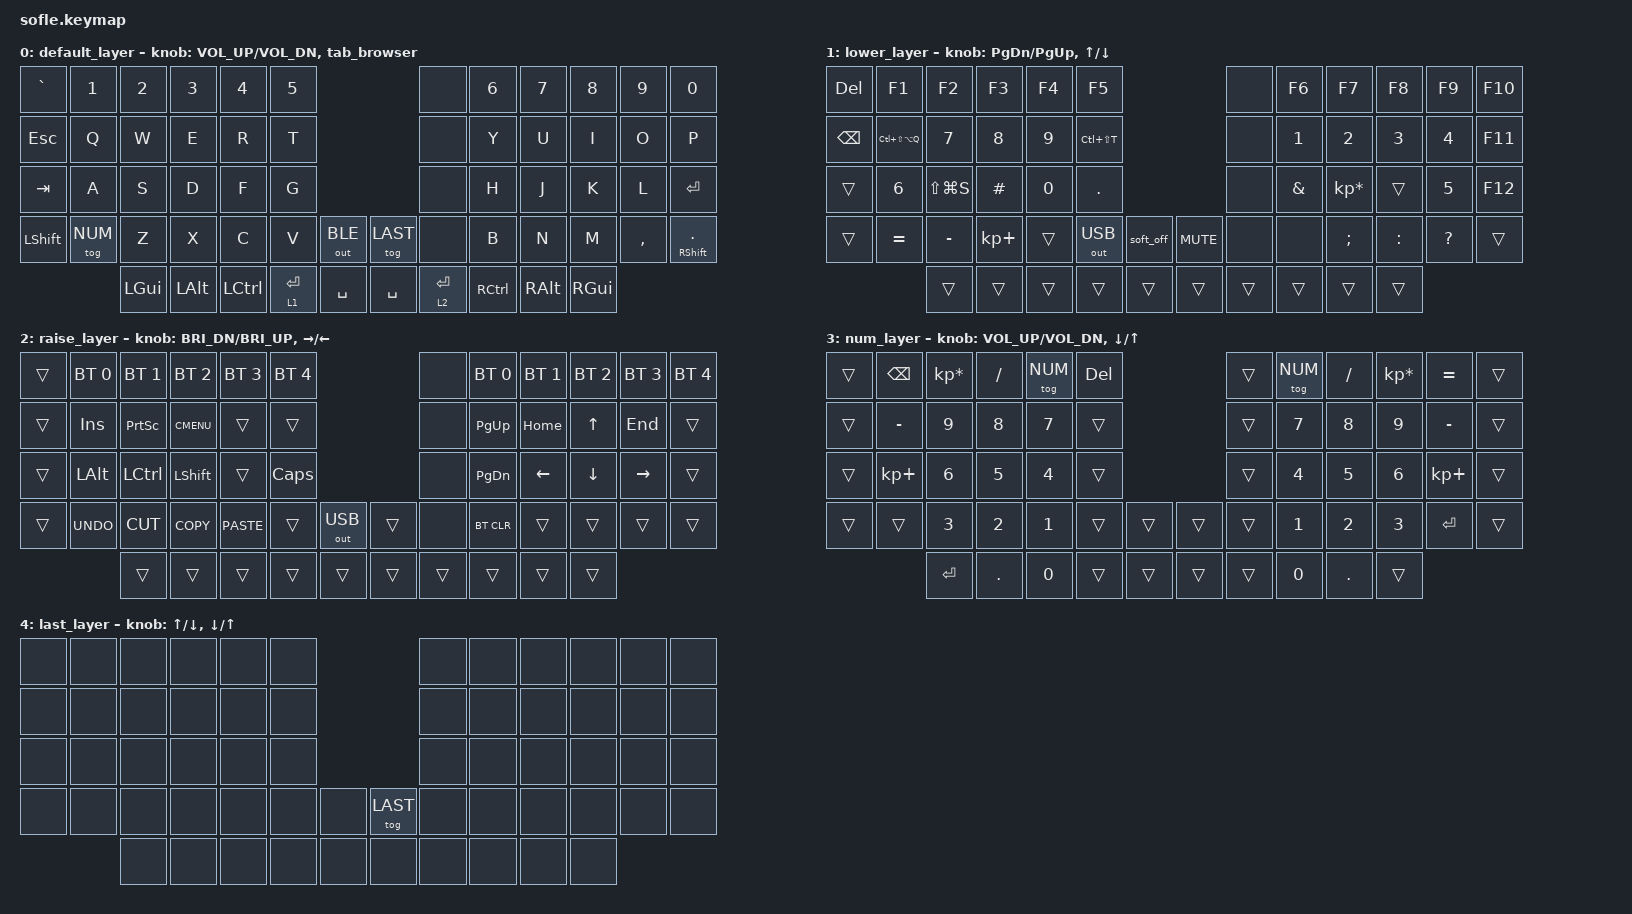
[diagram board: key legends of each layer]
/*
 * Copyright (c) 2020 The ZMK Contributors
 *
 * SPDX-License-Identifier: MIT
 */

#include <behaviors.dtsi>
#include <dt-bindings/zmk/keys.h>
#include <dt-bindings/zmk/bt.h>
#include <dt-bindings/zmk/outputs.h>

#define DEFAULT		0
#define LOWER		1
#define RAISE		2
#define NUM		3
#define LAST		4

//Encoder Support by Preacher325 https://github.com/Preacher325/Sofle_RGB_ZMK/blob/master/config/sofle.keymap
//Alps Alpine EC11N1524402: 30 Detent, 15PPR, 2 Channel, Quadrature, 15000 Cycle
/ {
    left_encoder: encoder_left {
        compatible = "alps,ec11";
        label = "LEFT_ENCODER";
        a-gpios = <&pro_micro 21 (GPIO_ACTIVE_HIGH | GPIO_PULL_UP)>;
        b-gpios = <&pro_micro 20 (GPIO_ACTIVE_HIGH | GPIO_PULL_UP)>;
        steps = <60>;
    };
    right_encoder: encoder_right {
        compatible = "alps,ec11";
        label = "RIGHT_ENCODER";
        a-gpios = <&pro_micro 21 (GPIO_ACTIVE_HIGH | GPIO_PULL_UP)>;
        b-gpios = <&pro_micro 20 (GPIO_ACTIVE_HIGH | GPIO_PULL_UP)>;
        steps = <60>;
    };
    sensors {
        compatible = "zmk,keymap-sensors";
        sensors = <&left_encoder &right_encoder>;
        triggers-per-rotation = <30>;
    };
};
&soft_off {
	hold-time-ms = <2000>; /* 按住2秒关掉键盘. */
};
/ {
    macros {
// System and Power
        tm: tm {
            label = "TASK_MANAGER";
            compatible = "zmk,behavior-macro";
            #binding-cells = <0>;
            bindings
                = <&macro_press &kp LCTRL &kp LSHFT>
                , <&macro_tap &kp ESC>
                , <&macro_release &kp LCTRL &kp LSHFT>
                ;
        };
        cad: cad{
            label = "CTRL_ALT_DEL";
            compatible = "zmk,behavior-macro";
            #binding-cells = <0>;
            bindings
                = <&macro_press &kp LCTRL &kp LALT &kp DEL>
                , <&macro_release &kp LCTRL &kp LALT &kp DEL>
                ;
        };
        slp: slp {
            label = "SLEEP";
            compatible = "zmk,behavior-macro";
            #binding-cells = <0>;
            bindings
                = <&macro_press &kp LGUI>
                , <&macro_tap &kp X>
                , <&macro_release &kp LGUI>
                , <&macro_tap &kp U &kp S>
                ;
        };
        rst: rst {
            label = "RESTART";
            compatible = "zmk,behavior-macro";
            #binding-cells = <0>;
            bindings
                = <&macro_press &kp LGUI>
                , <&macro_tap &kp X>
                , <&macro_release &kp LGUI>
                , <&macro_tap &kp U &kp R>
                ;
        };
        off: off {
            label = "SHUTDOWN";
            compatible = "zmk,behavior-macro";
            #binding-cells = <0>;
            bindings
                = <&macro_press &kp LGUI>
                , <&macro_tap &kp X>
                , <&macro_release &kp LGUI>
                , <&macro_tap &kp U &kp U>
                ;
        };
// Browser Controls
        tab_right: tab_right {
        label = "TAB_RIGHT";
        compatible = "zmk,behavior-macro";
        #binding-cells = <0>;
        wait-ms = <0>;
        tap-ms = <0>;
        bindings
            = <&macro_press   &kp LCTRL>
            , <&macro_tap     &kp TAB>
            , <&macro_release &kp LCTRL>;
        };
        tab_left: tab_left {
        label = "TAB_LEFT";
        compatible = "zmk,behavior-macro";
        #binding-cells = <0>;
        wait-ms = <0>;
        tap-ms = <0>;
        bindings
            = <&macro_press   &kp LCTRL &kp LSHFT>
            , <&macro_tap     &kp TAB>
            , <&macro_release &kp LCTRL &kp LSHFT>;
        };
        close_tab: close_tab {
        label = "CLOSE_TAB";
        compatible = "zmk,behavior-macro";
        #binding-cells = <0>;
        wait-ms = <0>;
        tap-ms = <0>;
        bindings
            = <&macro_press   &kp LCTRL>
            , <&macro_tap     &kp W>
            , <&macro_release &kp LCTRL>;
        };
	};
};
// Mod Morphs, Encoder, Tap-Dances
/ {
    behaviors {
// Encoder
        tab_browser: tab_browser {
            compatible = "zmk,behavior-sensor-rotate";
            label = "TAB_BROWSER";
            #sensor-binding-cells = <0>;
            bindings = <&tab_left>, <&tab_right>;
        };
	};
};
/ {
    combos {
        compatible = "zmk,combos";

	// arrow keys
	combo_right {
	timeout-ms = <50>;
	key-positions = <27 28>; // KP: DF
	bindings = <&kp RIGHT>; // 方便中文输入切换下一个选项，结合右手的JK enter，小键盘输入中文也毫无障碍
	layers = <0 1 2 3>;
		};
	combo_left {
	timeout-ms = <50>;
	key-positions = <26 27>; // KP: SD
	bindings = <&kp LEFT>; // 同上逻辑，方便中文输入。再加上强迫症，所以上下左右都放了，形成一个像游戏手柄的D-Pad
	layers = <0 1 2 3>;
		};
	combo_up{
	timeout-ms = <50>;
	key-positions = <15 27>; // KP: ED
	bindings = <&kp UP>; // 上下键不怎么用，一些需要用上下左右的组合软件功能键，我都放在切层里，用上一篇中方向键的位置。如果使用的话是直接按两个键中间
	layers = <0 1 2 3>;
		};
	combo_down {
	timeout-ms = <50>;
	key-positions = <27 39>; // KP: DX
	bindings = <&kp DOWN>; 
	layers = <0 1 2 3>;
		};
	
	// {}[]()
	combo_lbrc{
	timeout-ms = <50>;
	key-positions = <16 17>; // KP: RT
	bindings = <&kp LBRC>; 
	layers = <0 1 2 3>;
		};
	combo_rbrc{
	timeout-ms = <50>;
	key-positions = <19 20>; // KP: YU
	bindings = <&kp RBRC>; 
	layers = <0 1 2 3>;
		};
	combo_lbkt{
	timeout-ms = <50>;
	key-positions = <28 29>; // KP: FG
	bindings = <&kp LBKT>; 
	layers = <0 1 2 3>;
		};
	combo_rbkt{
	timeout-ms = <50>;
	key-positions = <31 32>; // KP: HJ
	bindings = <&kp RBKT>; 
	layers = <0 1 2 3>;
		};
	combo_lpar{
	timeout-ms = <50>;
	key-positions = <40 41>; // KP: CV
	bindings = <&kp LPAR>; 
	layers = <0 1 2 3>;
		};
	combo_rpar{
	timeout-ms = <50>;
	key-positions = <45 46>; // KP: BN
	bindings = <&kp RPAR>; 
	layers = <0 1 2 3>;
		};
		
	// mixed setups
	combo_bkslash {
	timeout-ms = <50>;
	key-positions = <27 40>; // KP: DC
	bindings = <&kp BSLH>; 
	layers = <0 1 2 3>;
		};
	combo_slash {
	timeout-ms = <50>;
	key-positions = <33 46>; // KP: KN
	bindings = <&kp FSLH>; 
	layers = <0 1 2 3>;
		};
	combo_cplk {
	timeout-ms = <50>;
	key-positions = <24 25>; // KP: TABA
	bindings = <&kp CAPS>; 
	layers = <0 1 2 3>;
		};
	combo_minus {
	timeout-ms = <50>;
	key-positions = <9 10>; // KP: 89
	bindings = <&kp MINUS>; 
	layers = <0 1 2 3>;
		};
	combo_equal {
	timeout-ms = <50>;
	key-positions = <10 11>; // KP: 90
	bindings = <&kp EQUAL>; 
	layers = <0 1 2 3>;
		};
	combo_bspl {
	timeout-ms = <50>;
	key-positions = <0 1>; // KP: GRAVE1
	bindings = <&kp BSPC>; 
	layers = <0 1 2 3>;
		};
	combo_bspr {
	timeout-ms = <50>;
	key-positions = <22 23>; // KP: OP
	bindings = <&kp BSPC>; 
	layers = <0 1 2 3>;
		};
	combo_dell {
	timeout-ms = <50>;
	key-positions = <1 12>; // KP: 1ESC
	bindings = <&kp DEL>; 
	layers = <0 1 2 3>;
		};
	combo_delr {
	timeout-ms = <50>;
	key-positions = <10 23>; // KP: 0BSLH
	bindings = <&kp DEL>; 
	layers = <0 1 2 3>;
		};
	combo_quote {
	timeout-ms = <50>;
	key-positions = <2 13>; // KP: 2Q
	bindings = <&kp SQT>; 
	layers = <0 1 2 3>;
		};
	combo_semi {
	timeout-ms = <50>;
	key-positions = <47 48>; // KP: MCOMMA
	bindings = <&kp SEMI>; 
	layers = <0 1 2 3>;
		};
	};
};

// combo keys showdown
// ------------------------------------------------------------------------------------------------------------
// |  0   |  1  |  2  |  3   |  4   |  5   |                |  6   |  7    |  8   |  9   |  10  |  11  |
// |  12  |  13 |  14 |  15  |  16  |  17  |                |  18  |  19   |  20  |  21  |  22  |  23  |
// |  24  |  25 |  26 |  27  |  28  |  29  |                |  30  |  31   |  32  |  33  |  34  |  35  |
// |  36  |  37 |  38 |  39  |  40  |  41  |  42  |  |  43  |  44  |  45   |  46  |  47  |  48  |  49  |
//              |  50 |  51  |  52  |  53  |  54  |  |  55  |  56  |  57   |  58  |  59  |

&soft_off {
	hold-time-ms = <5000>; //按5秒或以上才触发睡眠
};

/ {
    keymap {
        compatible = "zmk,keymap";

        default_layer {
// ------------------------------------------------------------------------------------------------------------
// |  `    |  1  |  2  |  3   |  4   |  5   |                   |  6   |  7    |  8    |  9   |   0   | BKSPC |
// |  ESC  |  Q  |  W  |  E   |  R   |  T   |                   |  Y   |  U    |  I    |  O   |   P   |   \   |
// |  TAB  |  A  |  S  |  D   |  F   |  G   |                   |  H   |  J    |  K    |  L   |   ;   | ENTER |
// | SHIFT |     |  Z  |  X   |  C   |  V   |  oble  |  | tog4  |  B   |  N    |  M    |  ,   |   .   |   /   |
//               | GUI | ALT  | CTRL | LOWER|  SPACE |  | SPACE | RAISE| CTRL  | ALT   | GUI  |
// &kp GRAVE	&kp N1		&kp N2		&kp N3		&kp N4		&kp N5									&kp N6		&kp N7		&kp N8		&kp N9		&kp N0		&kp BSPC
// &kp ESC		&kp Q		&kp W		&kp E		&kp R		&kp T									&kp Y		&kp U		&kp I		&kp O		&kp P		&kp BSLH
// &kp TAB		&kp A		&kp S		&kp D		&kp F		&kp G									&kp H		&kp J		&kp K		&kp L		&kp SEMI	&kp RET
// &kp LSHFT	&tog NUM	&kp Z		&kp X		&kp C		&kp V		&out OUT_BLE	&tog LAST	&kp B		&kp N		&kp M		&kp COMMA	&kp DOT		&mt RSHIFT FSLH
// 				&kp LGUI	&kp LALT	&kp LCTRL	&lt 1 RET	&kp SPACE	&kp SPACE		&lt 2 RET	&kp RCTRL	&kp RALT	&kp RGUI
// ------------------------------------------------------------------------------------------------------------
// |  `    |  1  |  2  |  3   |  4   |  5   |                   |      |  6   |  7    |  8    |  9   |   0   |
// |  ESC  |  Q  |  W  |  E   |  R   |  T   |                   |      |  Y   |  U    |  I    |  O   |   P   |
// |  TAB  |  A  |  S  |  D   |  F   |  G   |                   |      |  H   |  J    |  K    |  L   | ENTER |
// | SHIFT |     |  Z  |  X   |  C   |  V   |  oble  |  | tog4  |      |  B   |  N    |  M    |  ,   |   .   |
//               | GUI | ALT  | CTRL | LOWER|  SPACE |  | SPACE | RAISE| CTRL  | ALT   | GUI  |
            bindings = <
&kp GRAVE	&kp N1		&kp N2		&kp N3		&kp N4		&kp N5									&none		&kp N6		&kp N7		&kp N8		&kp N9		&kp N0
&kp ESC		&kp Q		&kp W		&kp E		&kp R		&kp T									&none		&kp Y		&kp U		&kp I		&kp O		&kp P
&kp TAB		&kp A		&kp S		&kp D		&kp F		&kp G									&none		&kp H		&kp J		&kp K		&kp L		&kp RET
&kp LSHFT	&tog NUM	&kp Z		&kp X		&kp C		&kp V		&out OUT_BLE	&tog LAST	&none		&kp B		&kp N		&kp M		&kp COMMA	&mt RSHIFT DOT
						&kp LGUI	&kp LALT	&kp LCTRL	&lt 1 RET	&kp SPACE		&kp SPACE	&lt 2 RET	&kp RCTRL	&kp RALT	&kp RGUI
            >;

            sensor-bindings = <&inc_dec_kp C_VOL_UP C_VOL_DN &tab_browser>;
        };

        lower_layer {
// TODO: Some binds are waiting for shifted keycode support.
// ------------------------------------------------------------------------------------------------------------
// |softoff|  F1 |  F2 |  F3  |  F4  |  F5  |                   |  F6  |  F7   |  F8   |  F9  |  F10  |  F11  |
// | BKSPC | CASQ|  7  |   8  |   9  |  CST |                   |   1  |   2   |   3   |   4  |    5  |  F12  |
// |       |  6  |  @  |  #   |   0  |  .   |                   |  ^   |  &    |  *    |  (   |   )   |   '   |
// |       |  =  |  -  |  +   |  {   |  }   |  ousb  |  |       |  [   |  ]    |  ;    |  :   |   ?   |       |
//               |     |      |      |      |        |  |       |      |       |       |      |
// &soft_off	&kp F1				&kp F2			&kp F3		&kp F4		&kp F5							&kp F6		&kp F7		&kp F8		&kp F9			&kp F10		&kp F11
// &kp BSPC		&kp LC(LS(LA(Q)))	&kp N7			&kp N8		&kp N9		&kp LC(LS(T))					&kp N1		&kp N2		&kp N3		&kp N4			&kp N5		&kp F12
// &trans		&kp N6				&kp LS(LG(S))	&kp HASH	&kp N0		&kp DOT							&kp CARET	&kp AMPS	&kp KP_MULTIPLY	&kp LPAR	&kp RPAR	&kp SQT
// &trans		&kp EQUAL			&kp MINUS		&kp KP_PLUS	&kp LBRC	&kp RBRC	&soft_off	&trans  &kp LBKT	&kp RBKT	&kp SEMI	&kp COLON		&kp QMARK	&trans
// 									&trans			&trans		&trans		&trans		&trans		&trans  &trans		&trans		&trans		&trans
// ------------------------------------------------------------------------------------------------------------
// | del   |  F1 |  F2 |  F3  |  F4  |  F5  |                   |      |  F6  |  F7   |  F8  |  F9  |  F10  |
// | BKSPC | CASQ|  7  |   8  |   9  |  CST |                   |      |   1  |   2   |   3  |   4  |  F11  |
// |       |  6  |  @  |  #   |   0  |  .   |                   |      |  &   |  *    |      |   5  |  F12  |
// |       |  =  |  -  |  +   |      | ousb |  soff  |  |  mute |      |      |  ;    |  :   |   ?  |       |
//               |     |      |      |      |        |  |       |      |      |       |      |
            bindings = <
&kp DEL		&kp F1				&kp F2			&kp F3		&kp F4		&kp F5									&none	&kp F6		&kp F7			&kp F8		&kp F9		&kp F10
&kp BSPC	&kp LC(LS(LA(Q)))	&kp N7			&kp N8		&kp N9		&kp LC(LS(T))							&none	&kp N1		&kp N2			&kp N3		&kp N4		&kp F11
&trans		&kp N6				&kp LS(LG(S))	&kp HASH	&kp N0		&kp DOT									&none	&kp AMPS	&kp KP_MULTIPLY	&trans		&kp N5		&kp F12
&trans		&kp EQUAL			&kp MINUS		&kp KP_PLUS	&trans		&out OUT_USB	&soft_off	&kp C_MUTE	&none	&none		&kp SEMI		&kp COLON	&kp QMARK	&trans
								&trans			&trans		&trans		&trans			&trans		&trans		&trans	&trans		&trans			&trans
            >;

            sensor-bindings = <&inc_dec_kp PG_DN PG_UP &inc_dec_kp UP DOWN>;
        };

        raise_layer {
// ------------------------------------------------------------------------------------------------------------
// |     | BT0  | BT1  |  BT2  |  BT3  |  BT4 |                | DIS  | BT0  |  BT1  | BT2  |  BT3  |  BT4  |
// |     | INS  | PSCR | GUI   |       |      |                | PGUP | HOME |   ^   | END  |       |       |
// |     | ALT  | CTRL | SHIFT |       | CAPS |                | PGDN |   <- |   v   |  ->  |       |       |
// |     | UNDO | CUT  | COPY  | PASTE |      |      |  |      |BTCLR |      |       |      |       |       |
//              |      |       |       |      |      |  |      |      |      |       |      |
// &trans	&bt BT_SEL 0	&bt BT_SEL 1	&bt BT_SEL 2	&bt BT_SEL 3	&bt BT_SEL 4				&bt BT_SEL 0	&bt BT_SEL 1	&bt BT_SEL 2	&bt BT_SEL 3	&bt BT_SEL 4	&trans
// &trans	&kp INS			&kp PSCRN		&kp K_CMENU		&trans			&trans						&kp PG_UP		&kp HOME		&kp UP			&kp END			&trans			&trans
// &trans	&kp LALT		&kp LCTRL		&kp LSHFT		&trans			&kp CLCK					&kp PG_DN		&kp LEFT		&kp DOWN		&kp RIGHT		&trans			&trans
// &trans	&kp K_UNDO		&kp K_CUT		&kp K_COPY		&kp K_PASTE		&trans		&trans	&trans	&bt BT_CLR		&bt BT_CLR		&trans			&trans			&trans			&trans
// 							&trans			&trans			&trans			&trans		&trans	&trans	&trans			&trans			&trans			&trans
// ------------------------------------------------------------------------------------------------------------
// |     | BT0  | BT1  |  BT2  |  BT3  |  BT4 |                |      | BT0  |  BT1  | BT2  |  BT3  |  BT4  |
// |     | INS  | PSCR | GUI   |       |      |                |      | PGUP | HOME  |   ^  |  END  |       |
// |     | ALT  | CTRL | SHIFT |       | CAPS |                |      | PGDN |   <-  |   v  |  ->   |       |
// |     | UNDO | CUT  | COPY  | PASTE |      |      |  |      |      | BTCLR|       |      |       |       |
//              |      |       |       |      |      |  |      |      |      |       |      |
            bindings = <
&trans		&bt BT_SEL 0	&bt BT_SEL 1	&bt BT_SEL 2	&bt BT_SEL 3	&bt BT_SEL 4						&none	&bt BT_SEL 0	&bt BT_SEL 1	&bt BT_SEL 2	&bt BT_SEL 3	&bt BT_SEL 4
&trans		&kp INS			&kp PSCRN		&kp K_CMENU		&trans			&trans								&none	&kp PG_UP		&kp HOME		&kp UP			&kp END			&trans
&trans		&kp LALT		&kp LCTRL		&kp LSHFT		&trans			&kp CLCK							&none	&kp PG_DN		&kp LEFT		&kp DOWN		&kp RIGHT		&trans
&trans		&kp K_UNDO		&kp K_CUT		&kp K_COPY		&kp K_PASTE		&trans		&out OUT_USB	&trans	&none	&bt BT_CLR		&trans			&trans			&trans			&trans
							&trans			&trans			&trans			&trans		&trans			&trans	&trans	&trans			&trans			&trans
            >;

            sensor-bindings = <&inc_dec_kp C_BRI_DN C_BRI_UP &inc_dec_kp RIGHT LEFT>;
        };
	num_layer {
// ------------------------------------------------------------------------------------------------------------
// |  `    |BKSPC|  *  |  /   | tog3 |  DEL |                   |      | tog3 |  /  |  *   |  =  | BKSPC |
// |  ESC  |  -  |  9  |  8   |  7   |      |                   |      |  7   |  8  |  9   |  -  |       |
// |  TAB  |  +  |  6  |  5   |  4   |      |                   |      |  4   |  5  |  6   |  +  |       |
// | SHIFT |     |  3  |  2   |	 1   |      |  MUTE  |  | CAPS  |      |  1   |  2  |  3   |ENTER|       |
//               |ENTER| .    |  0   | LOWER|  SPACE |  | SPACE | RAISE|  0   |  .  | GUI  |
            bindings = <
&trans	&kp BSPC	&kp KP_MULTIPLY	&kp FSLH	&tog NUM	&kp DEL					&trans	&tog NUM	&kp FSLH	&kp KP_MULTIPLY	&kp EQUAL	&trans
&trans	&kp MINUS	&kp N9			&kp N8		&kp N7		&trans					&trans	&kp N7		&kp N8		&kp N9			&kp MINUS	&trans
&trans	&kp KP_PLUS	&kp N6			&kp N5		&kp N4		&trans					&trans	&kp N4		&kp N5		&kp N6			&kp KP_PLUS	&trans
&trans	&trans		&kp N3			&kp N2		&kp N1		&trans	&trans	&trans	&trans	&kp N1		&kp N2		&kp N3			&kp RET		&trans
					&kp RET			&kp DOT		&kp N0		&trans	&trans	&trans	&trans	&kp N0		&kp DOT		&trans
            >;

            sensor-bindings = <&inc_dec_kp C_VOL_UP C_VOL_DN &inc_dec_kp DOWN UP>;
        };
	last_layer {
// ------------------------------------------------------------------------------------------------------------
// |	|	|	|	|	|	|		|	|	|	|	|	|	|
// |	|	|	|	|	|	|		|	|	|	|	|	|	|
// |	|	|	|	|	|	|		|	|	|	|	|	|	|
// |	|	|	|	|	|	|	| |tog4 |	|	|	|	|	|	|
// 		|	|	|	|	|	| |	|	|	|	|	|
            bindings = <
&none &none &none &none &none &none						&none &none &none &none &none &none
&none &none &none &none &none &none						&none &none &none &none &none &none
&none &none &none &none &none &none						&none &none &none &none &none &none
&none &none &none &none &none &none	&none  &tog LAST	&none &none &none &none &none &none
	    	&none &none &none &none	&none  &none		&none &none &none &none
            >;
            sensor-bindings = <&inc_dec_kp UP DOWN &inc_dec_kp DOWN UP>;
	    };
    };
};


